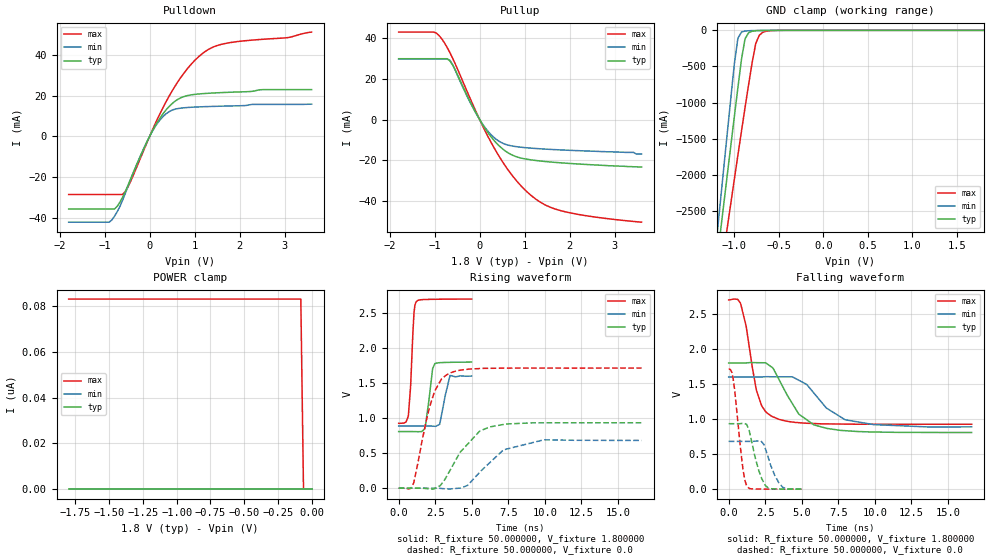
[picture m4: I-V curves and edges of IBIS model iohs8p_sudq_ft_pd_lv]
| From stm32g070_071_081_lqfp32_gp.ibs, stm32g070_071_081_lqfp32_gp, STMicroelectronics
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|   Model iohs8p_sudq_ft_pd_lv
[Model]  iohs8p_sudq_ft_pd_lv
Model_type I/O
Polarity   Non-Inverting
Enable   Active-Low
Vinl =   0.540000V
Vinh =   1.260000V
Vmeas =  0.900000V
Cref =   40.000000pF
Rref =   100.000000M
Vref =   0.0V
C_comp   1.984800pF   1.899400pF   2.077500pF
[Temperature Range]   25.000000   -40.000000   0.125000k
[Pullup Reference]   1.800000V   1.600000V   2.700000V
[Pulldown Reference]   0.0V   0.0V   0.0V
[POWER Clamp Reference]   1.800000V   1.600000V   2.700000V
[GND Clamp Reference]   0.0V   0.0V   0.0V
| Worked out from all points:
|   slope of the pulldown table from 0 to 0.27 V, typ, clamps not added: 26.4 ohm
|   slope of the pullup table from 0 to 0.27 V, typ, clamps not added: 30.1 ohm
|   GND clamp passes 1 mA (typ) near -0.60 V on its own axis
|   rising waveform, R_fixture 50.000000, V_fixture 1.800000: 20-80 % time 358ps typ, 426ps min, 254ps max; typ from 0.808 V to 1.8 V
|   rising waveform, R_fixture 50.000000, V_fixture 0.0: 20-80 % time 1.91ns typ, 2.02ns min, 1.14ns max; typ from 0 V to 0.933 V
|   falling waveform, R_fixture 50.000000, V_fixture 1.800000: 20-80 % time 1.88ns typ, 2.16ns min, 937ps max; typ from 1.8 V to 0.808 V
|   falling waveform, R_fixture 50.000000, V_fixture 0.0: 20-80 % time 697ps typ, 757ps min, 515ps max; typ from 0.933 V to 0 V
[Pulldown]
|Voltage   I(typ)   I(min)   I(max)
-1.8V     -35.64mA   -42.15mA   -28.59mA
-900mV    -35.64mA   -42.15mA   -28.59mA
-780mV    -35.64mA   -39.2mA    -28.59mA
-600mV    -29.83mA   -31.31mA   -28.52mA
-420mV    -20.8mA    -21.07mA   -21.98mA
60mV      2.604mA    2.459mA    3.062mA
240mV     9.303mA    8.31mA     11.61mA
480mV     15.67mA    12.64mA    21.52mA
720mV     19.18mA    13.91mA    29.74mA
960mV     20.46mA    14.3mA     36.27mA
1.44V     21.29mA    14.7mA     44.06mA
3.6V      22.91mA    15.79mA    51.15mA
[Pullup]
|Voltage   I(typ)   I(min)   I(max)
-1.8V     29.95mA    29.75mA    43.09mA
-1.02V    29.95mA    29.75mA    43.09mA
-900mV    29.95mA    29.75mA    41.34mA
-660mV    28.86mA    29.2mA     32.89mA
-60mV     2.392mA    2.26mA     2.893mA
300mV     -9.801mA   -8.48mA    -13.12mA
480mV     -13.91mA   -11.33mA   -19.82mA
720mV     -17.48mA   -13.04mA   -27.45mA
1.2V      -20.05mA   -14.2mA    -38.43mA
1.5V      -20.78mA   -14.63mA   -42.54mA
1.92V     -21.53mA   -15.1mA    -45.56mA
3.6V      -23.4mA    -17mA      -50.6mA
[GND_clamp]
|Voltage   I(typ)   I(min)   I(max)
-1.8V     -9.477A    -9.805A    -9.016A
-1.2V     -3.243A    -2.9A      -3.759A
-1.16V    -2.83A     -2.409A    -3.417A
-1.12V    -2.418A    -1.919A    -3.076A
-1.08V    -2.008A    -1.431A    -2.736A
-1V       -1.194A    -466mA     -2.061A
-960mV    -792.8mA   -108.7mA   -1.727A
-920mV    -402mA     -24.36mA   -1.396A
-880mV    -117.8mA   -9.2mA     -1.071A
-760mV    -5.909mA   -2.892mA   -183.8mA
-680mV    -2.407mA   -1.111mA   -26.63mA
1.8V      47.61uA    33.87uA    60.56uA
[POWER_clamp]
|Voltage   I(typ)   I(min)   I(max)
-1.8V     0A         0A         83.17nA
-80mV     0A         0A         83.17nA
-60mV     0A         0A         0A
0V        0A         0A         0A
[Ramp]
| variable   typ   min   max
dV/dt_r  0.56020/1.90925n   0.40837/2.01516n   1.02678/1.14258n
dV/dt_f  0.59489/1.87615n   0.42528/2.14494n   1.06359/0.93576n
R_load = 50.000000
[Rising Waveform]
R_fixture= 50.000000
V_fixture= 1.800000
V_fixture_min= 1.600000
V_fixture_max= 2.700000
|time   V(typ)   V(min)   V(max)
0s        807.9mV    888.7mV    925.8mV
660.7ps   808mV      888.7mV    1.029V
820.8ps   807.9mV    888.7mV    1.471V
1.051ns   807.6mV    888.7mV    2.508V
1.211ns   806.5mV    888.7mV    2.663V
1.802ns   851.7mV    888.1mV    2.692V
2.472ns   1.776V     882.7mV    2.696V
2.813ns   1.791V     917.4mV    2.696V
3.514ns   1.796V     1.608V     2.698V
4.985ns   1.799V     1.599V     2.699V
[Rising Waveform]
R_fixture= 50.000000
V_fixture= 0.0
V_fixture_min= 0.0
V_fixture_max= 0.0
|time   V(typ)   V(min)   V(max)
0s        60.06nV    530.2nV    51.3uV
1.001ns   18.18uV    -739.2nV   61.41mV
2.135ns   -11.66mV   63.26uV    1.173V
2.936ns   61.5mV     -4.204mV   1.56V
3.403ns   213.8mV    -10.31mV   1.632V
4.705ns   625.6mV    39.87mV    1.697V
6.206ns   872.9mV    359.3mV    1.711V
7.174ns   909.4mV    547.1mV    1.713V
9.943ns   932.7mV    690.1mV    1.714V
16.62ns   933.5mV    681.5mV    1.714V
[Falling Waveform]
R_fixture= 50.000000
V_fixture= 1.800000
V_fixture_min= 1.600000
V_fixture_max= 2.700000
|time   V(typ)   V(min)   V(max)
0s        1.799V     1.599V     2.699V
800.8ps   1.799V     1.599V     2.654V
1.201ns   1.8V       1.599V     2.316V
1.902ns   1.804V     1.599V     1.407V
2.269ns   1.803V     1.6V       1.185V
2.97ns    1.736V     1.602V     1.037V
4.805ns   1.069V     1.552V     947.8mV
5.839ns   916.2mV    1.368V     935.9mV
7.975ns   833.6mV    989.4mV    927.8mV
16.62ns   807.9mV    888.7mV    925.8mV
[Falling Waveform]
R_fixture= 50.000000
V_fixture= 0.0
V_fixture_min= 0.0
V_fixture_max= 0.0
|time   V(typ)   V(min)   V(max)
0s        933.5mV    681.5mV    1.714V
310.3ps   933.4mV    681.5mV    1.571V
981ps     939mV      681.5mV    281.4mV
1.221ns   925.1mV    681.4mV    56.09mV
1.411ns   829.7mV    681.2mV    11.77mV
2.032ns   283.4mV    687.1mV    1.933mV
2.503ns   54.95mV    579.6mV    1.186mV
3.143ns   3.27mV     200.5mV    692.2uV
3.684ns   1.1mV      29.71mV    431.9uV
4.985ns   60.06nV    530.2nV    51.3uV
